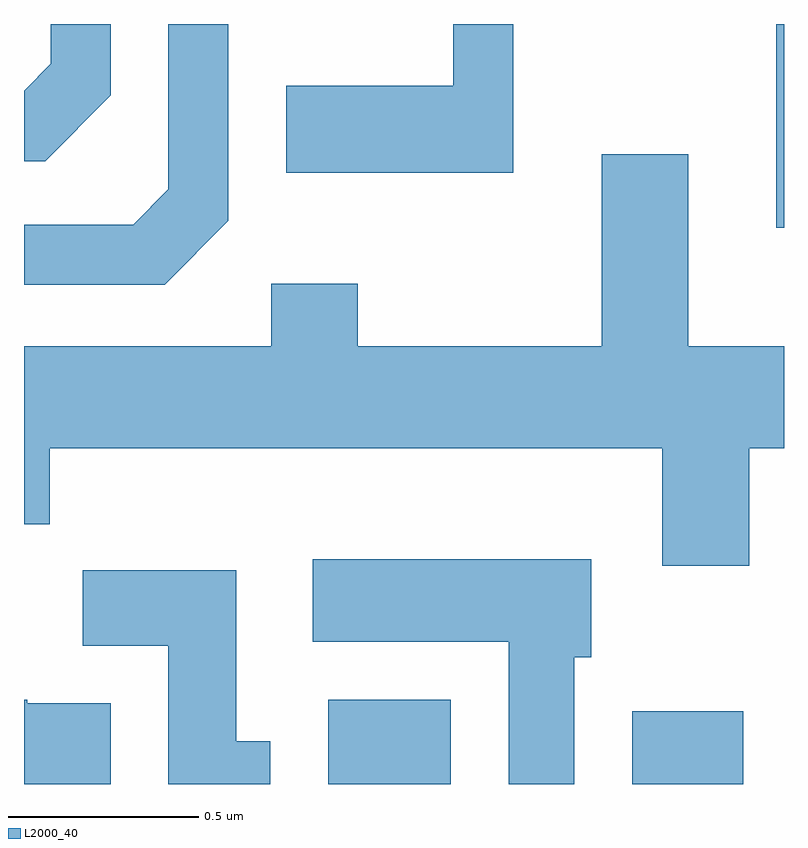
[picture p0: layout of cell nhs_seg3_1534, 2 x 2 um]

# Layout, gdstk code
import gdstk
lib = gdstk.Library(unit=1e-6, precision=1e-09)
def R(c, l, rs):  # rectangles x0, y0, x1, y1
    for r in rs: c.add(gdstk.rectangle(r[:2], r[2:], *l))
def P(c, l, *ps):  # polygons
    for p in ps: c.add(gdstk.Polygon(p, *l))
L2000_40 = (2000, 40)

nhs_seg3_1534 = lib.new_cell('nhs_seg3_1534')
R(nhs_seg3_1534, L2000_40, [(197.411,1142.892,197.734,1143.114), (198.211,1142.892,198.504,1143.084), (198.591,1144.356,198.611,1144.892)])
P(nhs_seg3_1534, L2000_40, [(197.899,1144.892),(197.741,1144.892),(197.741,1144.729),(197.301,1144.729),(197.301,1144.501),(197.899,1144.501)],
  [(196.839,1144.704),(196.839,1144.892),(196.681,1144.892),(196.681,1144.787),(196.611,1144.716),(196.611,1144.531),(196.667,1144.531)],
  [(197.149,1144.374),(197.149,1144.892),(196.991,1144.892),(196.991,1144.457),(196.899,1144.364),(196.611,1144.364),(196.611,1144.206),(196.982,1144.206)],
  [(198.519,1143.776),(198.611,1143.776),(198.611,1144.044),(198.359,1144.044),(198.359,1144.549),(198.131,1144.549),(198.131,1144.044),(197.489,1144.044),(197.489,1144.209),(197.261,1144.209),(197.261,1144.044),(196.611,1144.044),(196.611,1143.576),(196.679,1143.576),(196.679,1143.776),(198.291,1143.776),(198.291,1143.466),(198.519,1143.466)],
  [(198.059,1143.226),(198.104,1143.226),(198.104,1143.484),(197.371,1143.484),(197.371,1143.266),(197.886,1143.266),(197.886,1142.892),(198.059,1142.892)],
  [(197.259,1143.004),(197.169,1143.004),(197.169,1143.454),(196.766,1143.454),(196.766,1143.256),(196.991,1143.256),(196.991,1142.892),(197.259,1142.892)],
  [(196.839,1143.104),(196.62,1143.104),(196.62,1143.114),(196.611,1143.114),(196.611,1142.892),(196.839,1142.892)])

lib.write_gds('nhs_seg3_1534.gds')
